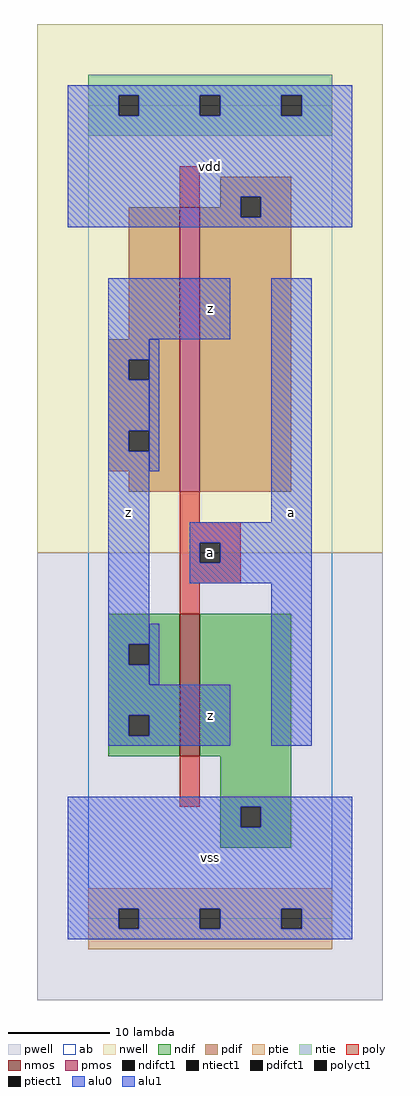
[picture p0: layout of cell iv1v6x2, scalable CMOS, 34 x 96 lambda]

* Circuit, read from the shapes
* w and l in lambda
.subckt iv1v6x2 a vdd vss z
M1 vss a z vss nfet w=14 l=2
M2 vdd a z vdd pfet w=28 l=2
.ends

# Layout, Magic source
magic
tech scmos
<< ab >>
rect 0 0 24 80
<< nwell >>
rect -5 36 29 88
<< pwell >>
rect -5 -8 29 36
<< poly >>
rect 9 70 11 74
rect 9 39 11 42
rect 9 37 15 39
rect 9 35 11 37
rect 13 35 15 37
rect 9 33 15 35
rect 9 30 11 33
rect 9 11 11 16
<< ndif >>
rect 2 27 9 30
rect 2 25 4 27
rect 6 25 9 27
rect 2 20 9 25
rect 2 18 4 20
rect 6 18 9 20
rect 2 16 9 18
rect 11 16 20 30
rect 13 11 20 16
rect 13 9 15 11
rect 17 9 20 11
rect 13 7 20 9
<< pdif >>
rect 13 71 20 73
rect 13 70 15 71
rect 4 57 9 70
rect 2 55 9 57
rect 2 53 4 55
rect 6 53 9 55
rect 2 48 9 53
rect 2 46 4 48
rect 6 46 9 48
rect 2 44 9 46
rect 4 42 9 44
rect 11 69 15 70
rect 17 69 20 71
rect 11 42 20 69
<< alu1 >>
rect -2 81 26 82
rect -2 79 3 81
rect 5 79 11 81
rect 13 79 19 81
rect 21 79 26 81
rect -2 71 26 79
rect -2 69 15 71
rect 17 69 26 71
rect -2 68 26 69
rect 2 57 14 63
rect 2 55 6 57
rect 2 53 4 55
rect 2 48 6 53
rect 2 46 4 48
rect 2 27 6 46
rect 18 39 22 63
rect 10 37 22 39
rect 10 35 11 37
rect 13 35 22 37
rect 10 33 22 35
rect 2 25 4 27
rect 2 23 6 25
rect 2 20 14 23
rect 2 18 4 20
rect 6 18 14 20
rect 2 17 14 18
rect 18 17 22 33
rect -2 11 26 12
rect -2 9 15 11
rect 17 9 26 11
rect -2 1 26 9
rect -2 -1 3 1
rect 5 -1 11 1
rect 13 -1 19 1
rect 21 -1 26 1
rect -2 -2 26 -1
<< ptie >>
rect 0 1 24 3
rect 0 -1 3 1
rect 5 -1 11 1
rect 13 -1 19 1
rect 21 -1 24 1
rect 0 -3 24 -1
<< ntie >>
rect 0 81 24 83
rect 0 79 3 81
rect 5 79 11 81
rect 13 79 19 81
rect 21 79 24 81
rect 0 77 24 79
<< nmos >>
rect 9 16 11 30
<< pmos >>
rect 9 42 11 70
<< polyct1 >>
rect 11 35 13 37
<< ndifct1 >>
rect 4 25 6 27
rect 4 18 6 20
rect 15 9 17 11
<< ntiect1 >>
rect 3 79 5 81
rect 11 79 13 81
rect 19 79 21 81
<< ptiect1 >>
rect 3 -1 5 1
rect 11 -1 13 1
rect 19 -1 21 1
<< pdifct1 >>
rect 4 53 6 55
rect 4 46 6 48
rect 15 69 17 71
<< alu0 >>
rect 6 44 7 57
rect 6 23 7 29
<< labels >>
rlabel alu1 4 40 4 40 6 z
rlabel alu1 12 6 12 6 6 vss
rlabel alu1 12 20 12 20 6 z
rlabel polyct1 12 36 12 36 6 a
rlabel alu1 12 60 12 60 6 z
rlabel alu1 12 74 12 74 6 vdd
rlabel alu1 20 40 20 40 6 a
<< end >>
